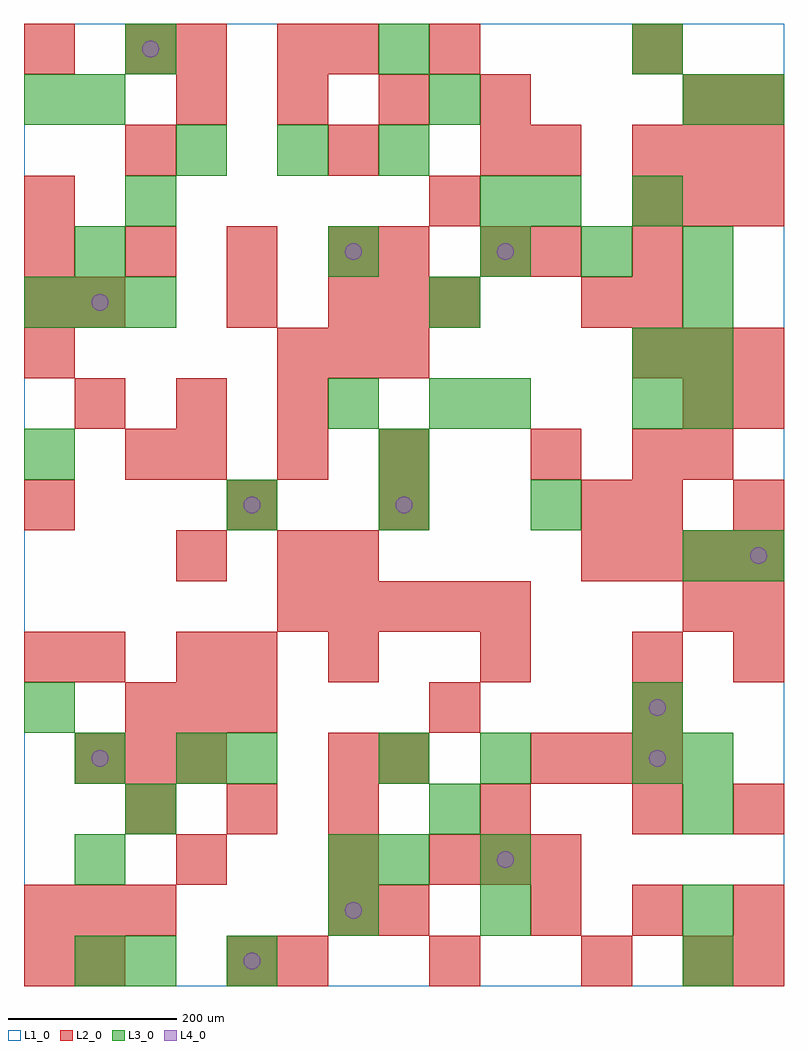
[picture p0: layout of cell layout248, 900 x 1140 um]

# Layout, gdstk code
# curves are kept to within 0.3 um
import gdstk
lib = gdstk.Library(unit=1e-6, precision=1e-09)
def R(c, l, rs):  # rectangles x0, y0, x1, y1
    for r in rs: c.add(gdstk.rectangle(r[:2], r[2:], *l))
def A(c, l, x, y, w, h, nx, ny, dx, dy):  # array of equal rectangles
    R(c, l, [(x+i*dx, y+j*dy, x+i*dx+w, y+j*dy+h) for i in range(nx) for j in range(ny)])
def P(c, l, *ps):  # polygons
    for p in ps: c.add(gdstk.Polygon(p, *l))
L1_0 = (1, 0)
L2_0 = (2, 0)
L3_0 = (3, 0)
L4_0 = (4, 0)

layout248 = lib.new_cell('layout248')
R(layout248, L1_0, [(0,0,900,1140)])
A(layout248, L2_0, 300, 0, 60, 60, 3, 1, 180, 0)
A(layout248, L2_0, 840, 0, 60, 60, 1, 3, 0, 180)
A(layout248, L2_0, 0, 60, 60, 60, 3, 1, 60, 0)
A(layout248, L2_0, 600, 60, 60, 60, 3, 1, 120, 0)
A(layout248, L2_0, 480, 120, 60, 60, 3, 1, 60, 0)
A(layout248, L2_0, 120, 180, 60, 60, 3, 1, 120, 0)
A(layout248, L2_0, 60, 240, 60, 60, 3, 1, 60, 0)
A(layout248, L2_0, 420, 240, 60, 60, 1, 3, 0, 300)
A(layout248, L2_0, 600, 240, 60, 60, 3, 1, 60, 0)
A(layout248, L2_0, 120, 300, 60, 60, 3, 1, 60, 0)
A(layout248, L2_0, 0, 360, 60, 60, 1, 3, 0, 180)
A(layout248, L2_0, 360, 360, 60, 60, 3, 1, 180, 0)
A(layout248, L2_0, 300, 420, 60, 60, 5, 1, 60, 0)
A(layout248, L2_0, 840, 420, 60, 60, 1, 3, 0, 120)
A(layout248, L2_0, 660, 480, 60, 60, 4, 1, 60, 0)
A(layout248, L2_0, 180, 600, 60, 60, 3, 1, 120, 0)
A(layout248, L2_0, 60, 660, 60, 60, 3, 1, 120, 0)
A(layout248, L2_0, 300, 720, 60, 60, 3, 1, 60, 0)
A(layout248, L2_0, 720, 720, 60, 60, 3, 2, 60, 180)
A(layout248, L2_0, 360, 780, 60, 60, 3, 1, 60, 0)
A(layout248, L2_0, 0, 840, 60, 60, 4, 1, 120, 0)
A(layout248, L2_0, 720, 960, 60, 60, 3, 1, 60, 0)
A(layout248, L2_0, 180, 1020, 60, 60, 4, 1, 120, 0)
R(layout248, L2_0, [(0,0,60,60), (60,0,120,60), (240,0,300,60), (780,0,840,60), (360,60,420,120), (420,60,480,120), (180,120,240,180), (360,120,420,180), (540,180,600,240), (720,180,780,240), (360,240,420,300), (480,300,540,360), (720,300,780,360), (60,360,120,420), (180,360,240,420), (240,360,300,420), (780,420,840,480), (180,480,240,540), (300,480,360,540), (360,480,420,540), (240,540,300,600), (660,540,720,600), (720,540,780,600), (120,600,180,660), (600,600,660,660), (720,600,780,660), (780,600,840,660), (780,660,840,720), (0,780,60,840), (60,780,120,840), (240,780,300,840), (660,780,720,840), (720,780,780,840), (540,840,600,900), (600,840,660,900), (720,840,780,900), (0,900,60,960), (480,900,540,960), (120,960,180,1020), (360,960,420,1020), (540,960,600,1020), (600,960,660,1020), (780,1020,840,1080), (840,1020,900,1080), (0,1080,60,1140), (120,1080,180,1140), (180,1080,240,1140), (300,1080,360,1140), (360,1080,420,1140), (480,1080,540,1140), (720,1080,780,1140)])
A(layout248, L3_0, 60, 0, 60, 60, 1, 3, 0, 120)
A(layout248, L3_0, 240, 540, 60, 60, 3, 1, 180, 0)
A(layout248, L3_0, 780, 660, 60, 60, 1, 3, 0, 60)
A(layout248, L3_0, 0, 780, 60, 60, 3, 1, 60, 0)
A(layout248, L3_0, 540, 840, 60, 60, 3, 1, 120, 0)
A(layout248, L3_0, 180, 960, 60, 60, 3, 1, 120, 0)
A(layout248, L3_0, 120, 1080, 60, 60, 3, 1, 300, 0)
R(layout248, L3_0, [(120,0,180,60), (240,0,300,60), (780,0,840,60), (360,60,420,120), (540,60,600,120), (780,60,840,120), (360,120,420,180), (420,120,480,180), (540,120,600,180), (120,180,180,240), (480,180,540,240), (780,180,840,240), (180,240,240,300), (240,240,300,300), (420,240,480,300), (540,240,600,300), (720,240,780,300), (780,240,840,300), (0,300,60,360), (720,300,780,360), (780,480,840,540), (840,480,900,540), (0,600,60,660), (420,600,480,660), (360,660,420,720), (480,660,540,720), (540,660,600,720), (720,660,780,720), (720,720,780,780), (480,780,540,840), (60,840,120,900), (360,840,420,900), (120,900,180,960), (540,900,600,960), (600,900,660,960), (720,900,780,960), (0,1020,60,1080), (60,1020,120,1080), (480,1020,540,1080), (780,1020,840,1080), (840,1020,900,1080)])
P(layout248, L4_0, [(100,270),(99.239,273.827),(97.071,277.071),(93.827,279.239),(90,280),(86.173,279.239),(82.929,277.071),(80.761,273.827),(80,270),(80.761,266.173),(82.929,262.929),(86.173,260.761),(90,260),(93.827,260.761),(97.071,262.929),(99.239,266.173)],
  [(100,810),(99.239,813.827),(97.071,817.071),(93.827,819.239),(90,820),(86.173,819.239),(82.929,817.071),(80.761,813.827),(80,810),(80.761,806.173),(82.929,802.929),(86.173,800.761),(90,800),(93.827,800.761),(97.071,802.929),(99.239,806.173)],
  [(160,1110),(159.239,1113.827),(157.071,1117.071),(153.827,1119.239),(150,1120),(146.173,1119.239),(142.929,1117.071),(140.761,1113.827),(140,1110),(140.761,1106.173),(142.929,1102.929),(146.173,1100.761),(150,1100),(153.827,1100.761),(157.071,1102.929),(159.239,1106.173)],
  [(280,30),(279.239,33.827),(277.071,37.071),(273.827,39.239),(270,40),(266.173,39.239),(262.929,37.071),(260.761,33.827),(260,30),(260.761,26.173),(262.929,22.929),(266.173,20.761),(270,20),(273.827,20.761),(277.071,22.929),(279.239,26.173)],
  [(280,570),(279.239,573.827),(277.071,577.071),(273.827,579.239),(270,580),(266.173,579.239),(262.929,577.071),(260.761,573.827),(260,570),(260.761,566.173),(262.929,562.929),(266.173,560.761),(270,560),(273.827,560.761),(277.071,562.929),(279.239,566.173)],
  [(400,90),(399.239,93.827),(397.071,97.071),(393.827,99.239),(390,100),(386.173,99.239),(382.929,97.071),(380.761,93.827),(380,90),(380.761,86.173),(382.929,82.929),(386.173,80.761),(390,80),(393.827,80.761),(397.071,82.929),(399.239,86.173)],
  [(400,870),(399.239,873.827),(397.071,877.071),(393.827,879.239),(390,880),(386.173,879.239),(382.929,877.071),(380.761,873.827),(380,870),(380.761,866.173),(382.929,862.929),(386.173,860.761),(390,860),(393.827,860.761),(397.071,862.929),(399.239,866.173)],
  [(460,570),(459.239,573.827),(457.071,577.071),(453.827,579.239),(450,580),(446.173,579.239),(442.929,577.071),(440.761,573.827),(440,570),(440.761,566.173),(442.929,562.929),(446.173,560.761),(450,560),(453.827,560.761),(457.071,562.929),(459.239,566.173)],
  [(580,150),(579.239,153.827),(577.071,157.071),(573.827,159.239),(570,160),(566.173,159.239),(562.929,157.071),(560.761,153.827),(560,150),(560.761,146.173),(562.929,142.929),(566.173,140.761),(570,140),(573.827,140.761),(577.071,142.929),(579.239,146.173)],
  [(580,870),(579.239,873.827),(577.071,877.071),(573.827,879.239),(570,880),(566.173,879.239),(562.929,877.071),(560.761,873.827),(560,870),(560.761,866.173),(562.929,862.929),(566.173,860.761),(570,860),(573.827,860.761),(577.071,862.929),(579.239,866.173)],
  [(760,270),(759.239,273.827),(757.071,277.071),(753.827,279.239),(750,280),(746.173,279.239),(742.929,277.071),(740.761,273.827),(740,270),(740.761,266.173),(742.929,262.929),(746.173,260.761),(750,260),(753.827,260.761),(757.071,262.929),(759.239,266.173)],
  [(760,330),(759.239,333.827),(757.071,337.071),(753.827,339.239),(750,340),(746.173,339.239),(742.929,337.071),(740.761,333.827),(740,330),(740.761,326.173),(742.929,322.929),(746.173,320.761),(750,320),(753.827,320.761),(757.071,322.929),(759.239,326.173)],
  [(880,510),(879.239,513.827),(877.071,517.071),(873.827,519.239),(870,520),(866.173,519.239),(862.929,517.071),(860.761,513.827),(860,510),(860.761,506.173),(862.929,502.929),(866.173,500.761),(870,500),(873.827,500.761),(877.071,502.929),(879.239,506.173)])

lib.write_gds('layout248.gds')
